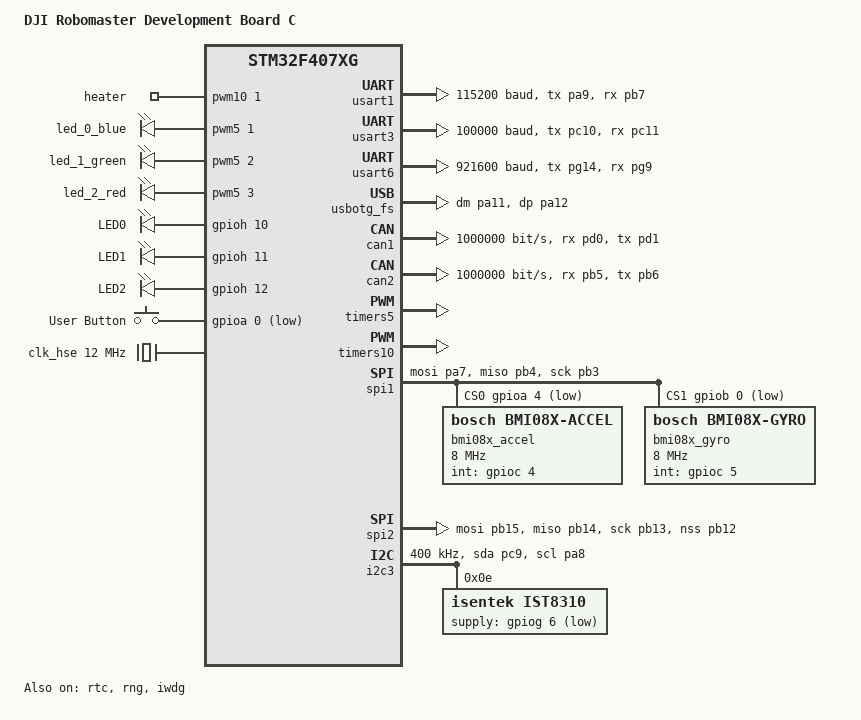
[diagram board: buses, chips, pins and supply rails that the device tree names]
/*
 * Copyright (c) 2024, ttwards <xuwenxi0517@gmail.com>
 *
 * SPDX-License-Identifier: Apache-2.0
 */

/dts-v1/;
#include <st/f4/stm32f407Xg.dtsi>
#include <st/f4/stm32f407i(e-g)tx-pinctrl.dtsi>
#include <zephyr/dt-bindings/input/input-event-codes.h>
// #include "robomaster_board_c-pinctrl.dtsi"

/ {
	model = "DJI Robomaster Development Board C";
	compatible = "dji,robomaster-board-c";

	chosen {
		zephyr,console = &usart1;
		zephyr,shell-uart = &usart1;
		zephyr,sram = &sram0;
		zephyr,button = &user_button;
		zephyr,flash = &flash0;
		zephyr,dtcm = &ccm0;
		ares,pwm = &heater;
		sbus,uart = &usart3;
		ares,usb = &cdc_acm_uart0;
	};

	aliases {
		led0 = &led_0_b;
		led-red = &led_2_red;
		led-green = &led_1_green;
		led-blue = &led_0_blue;
		plot = &usart6;
		watchdog0 = &iwdg;
	};

	pwmleds: pwmleds {
		compatible = "pwm-leds";
		status = "okay";
		heater: heater {
			pwms = <&pwm10 1 PWM_MSEC(20) PWM_POLARITY_NORMAL>;
		};
		led_0_blue: led_0_blue {
			pwms = <&pwm5 1 PWM_MSEC(20) PWM_POLARITY_NORMAL>;
		};
		led_1_green: led_1_green {
			pwms = <&pwm5 2 PWM_MSEC(20) PWM_POLARITY_NORMAL>;
		};
		led_2_red: led_2_red {
			pwms = <&pwm5 3 PWM_MSEC(20) PWM_POLARITY_NORMAL>;
		};
	};

	leds {
		compatible = "gpio-leds";
		led_0_b: led_0_b {
			gpios = <&gpioh 10 GPIO_ACTIVE_HIGH>;
			label = "LED0";
		};
		led_1_g: led_1_g {
			gpios = <&gpioh 11 GPIO_ACTIVE_HIGH>;
			label = "LED1";
		};
		led_2_r: led_2_r {
			gpios = <&gpioh 12 GPIO_ACTIVE_HIGH>;
			label = "LED2";
		};
	};

	imu_temp_pid: imu_temp_pid {
		#controller-cells = <0>;
		compatible = "pid,single";
		k_p = "6000000";
		k_d = "0.02";
		out_max = "20000000.000000";
		offset = "6750000.000000";
	};

	buttons {
		compatible = "gpio-keys";
		user_button: button_0 {
			gpios = <&gpioa 0 (GPIO_PULL_UP | GPIO_ACTIVE_LOW)>;
			label = "User Button";
			zephyr,code = <INPUT_KEY_0>;
		};
	};
};

&clk_lsi {
	status = "okay";
};

&clk_hse {
	clock-frequency = <DT_FREQ_M(12)>;
	status = "okay";
};

&pll {
	div-m = <12>;
	mul-n = <336>;
	div-p = <2>;
	div-q = <7>;
	clocks = <&clk_hse>;
	status = "okay";
};

&rcc {
	clocks = <&pll>;
	clock-frequency = <DT_FREQ_M(168)>;
	ahb-prescaler = <1>;
	apb1-prescaler = <4>;
	apb2-prescaler = <2>;
};

&rtc {
	clocks = <&rcc STM32_CLOCK_BUS_APB1 0x10000000>,
			<&rcc STM32_SRC_LSI RTC_SEL(2)>;
	status = "okay";
};

&rng {
	status = "okay";
};

&iwdg {
	status = "okay";
};

&dma1 {
    status = "okay";
};

&dma2 {
    status = "okay";
};

&usart1 {
	pinctrl-0 = <&usart1_tx_pa9 &usart1_rx_pb7>;
	pinctrl-names = "default";
	current-speed = <115200>;
	status = "okay";
	data-bits = <8>;
	stop-bits = "1";
	dmas = <&dma2 7 4 STM32_DMA_PERIPH_TX STM32_DMA_FIFO_FULL>,
		   <&dma2 5 4 STM32_DMA_PERIPH_RX STM32_DMA_FIFO_FULL>;
	dma-names = "tx", "rx";
};

&usart3 {
    pinctrl-0 = <&usart3_tx_pc10 &usart3_rx_pc11>;
    pinctrl-names = "default";
    current-speed = <100000>;
    status = "okay";
    data-bits = <8>;
    stop-bits = "2";
    parity = "even";
    dmas = <&dma1 1 4 STM32_DMA_PERIPH_RX STM32_DMA_FIFO_FULL>,
		   <&dma1 3 4 STM32_DMA_PERIPH_TX STM32_DMA_FIFO_FULL>;
    dma-names = "rx", "tx";
};

&usart6 {
	pinctrl-0 = <&usart6_tx_pg14 &usart6_rx_pg9>;
	pinctrl-names = "default";
	current-speed = <921600>;
	status = "okay";
	data-bits = <8>;
	stop-bits = "1";
	dmas = <&dma2 6 5 STM32_DMA_PERIPH_TX STM32_DMA_FIFO_FULL>,
		   <&dma2 1 5 STM32_DMA_PERIPH_RX STM32_DMA_FIFO_FULL>;
	dma-names = "tx", "rx";
};

zephyr_udc0: &usbotg_fs {
	pinctrl-0 = <&usb_otg_fs_dm_pa11 &usb_otg_fs_dp_pa12>;
	pinctrl-names = "default";
	status = "okay";
	cdc_acm_uart0: cdc_acm_uart {
		compatible = "zephyr,cdc-acm-uart";
	};
};

&can1 {
	status = "okay";
	pinctrl-0 = <&can1_rx_pd0 &can1_tx_pd1>;
	pinctrl-names = "default";
	bitrate = <1000000>;
};

&can2 {
	pinctrl-0 = <&can2_rx_pb5 &can2_tx_pb6>;
	pinctrl-names = "default";
	bitrate = <1000000>;
	status = "okay";
};

&timers5 {
	status = "okay";
	st,prescaler = <10000>;
	pwm5: pwm {
		status = "okay";
		pinctrl-0 = <&tim5_ch1_ph10 &tim5_ch2_ph11 &tim5_ch3_ph12>;
		pinctrl-names = "default";
	};
};

&timers10 {
	status = "okay";
	st,prescaler = <10000>;
	pwm10: pwm {
		status = "okay";
		pinctrl-0 = <&tim10_ch1_pf6>;
		pinctrl-names = "default";
	};
};

// &adc1 {
// 	pinctrl-0 = <&adc_in4_pf6>;
// 	pinctrl-names = "default";
// 	st,adc-clock-source = <SYNC>;
// 	st,adc-prescaler = <4>;
// 	status = "okay";
// };

&spi1 {
	status = "okay";
	cs-gpios = <&gpioa 4 GPIO_ACTIVE_LOW>,
		<&gpiob 0 GPIO_ACTIVE_LOW>;
	pinctrl-0=<&spi1_mosi_pa7
			&spi1_miso_pb4
			&spi1_sck_pb3>;
	pinctrl-names="default";

    bmi08x_accel: bmi08x_accel@0 {
        compatible = "bosch,bmi08x-accel";
		status = "okay";
        reg = <0>;
        spi-max-frequency = <8000000>;
        int-gpios = <&gpioc 4 GPIO_ACTIVE_HIGH>;
        accel-hz = "100";
        accel-fs = <24>;
		int1-map-io = <0x01>;
		int2-map-io = <0x02>;
        int1-conf-io = <0x0A>;
		int2-conf-io = <0x0A>;
    };

    bmi08x_gyro: bmi08x_gyro@1{
        compatible = "bosch,bmi08x-gyro";
		status = "okay";
        reg = <1>;
        spi-max-frequency = <8000000>;
        int-gpios = <&gpioc 5 GPIO_ACTIVE_HIGH>;
        gyro-hz = "2000_532";
        gyro-fs = <1000>;
		int3-4-map-io = <0x01>;
		int3-4-conf-io = <0x01>;
    };
};
&spi2{
	status = "okay";
	dmas = <&dma1 3 0 (STM32_DMA_PERIPH_RX | STM32_DMA_PRIORITY_HIGH) 0>,
	       <&dma1 4 0 (STM32_DMA_PERIPH_TX | STM32_DMA_PRIORITY_HIGH) 0>;
	dma-names = "rx", "tx";
	pinctrl-0 = <&spi2_mosi_pb15
		     &spi2_miso_pb14
		     &spi2_sck_pb13
		     &spi2_nss_pb12>;
	pinctrl-names = "default";

	// <&dmax stream channel flags>
};

&i2c3 {
	status = "okay";
	pinctrl-0 = <&i2c3_sda_pc9
				&i2c3_scl_pa8>;
	pinctrl-names = "default";
	clock-frequency = <I2C_BITRATE_FAST>;

	ist8310: ist8310@e {
		compatible = "isentek,ist8310";
		reg = <0xe>;
		supply-gpios = <&gpiog 6 GPIO_ACTIVE_LOW>;
	};
};

&flash0 {
	partitions {
		compatible = "fixed-partitions";
		#address-cells = <1>;
		#size-cells = <1>;

		/* Sector 10 base: 0x080C0000, size: 128KB */
		/* Sector 11 base: 0x080E0000, size: 128KB */
		/* 我们使用 Sector 10 和 Sector 11，总共 256KB */
		storage_partition: partition@c0000 {
			label = "storage";
			/* 从 Sector 10 开始 (0x080C0000)，大小为 256KB (0x40000) */
			reg = <0x00C0000 0x00040000>;
		};
	};
};
